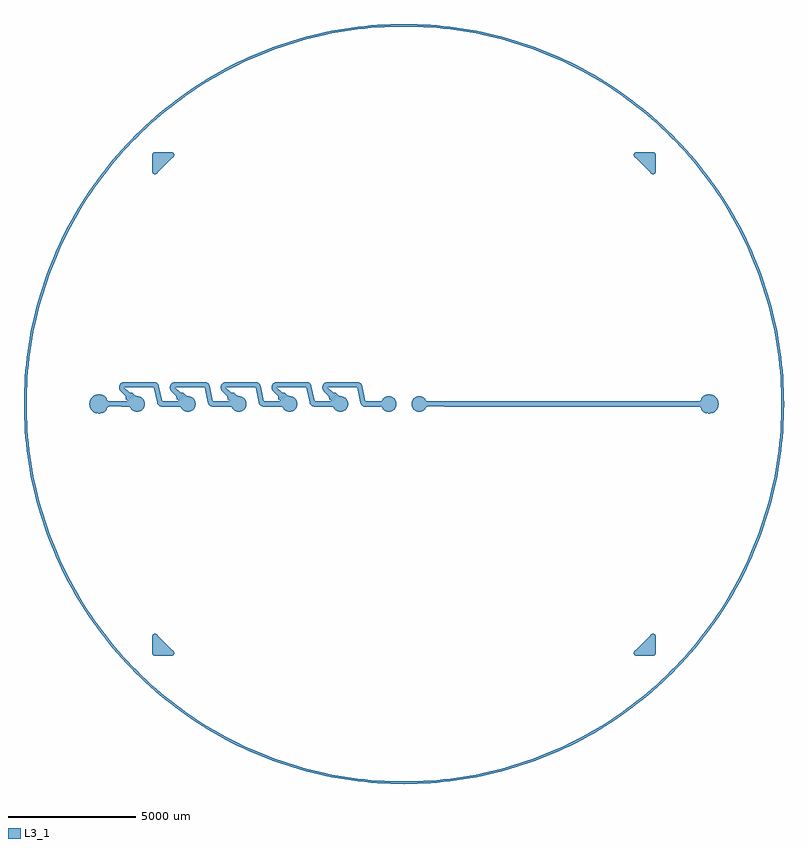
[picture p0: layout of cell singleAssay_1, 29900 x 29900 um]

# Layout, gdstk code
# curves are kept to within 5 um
from math import pi, radians
import gdstk
lib = gdstk.Library(unit=1e-6, precision=5e-09)
def R(c, l, rs):  # rectangles x0, y0, x1, y1
    for r in rs: c.add(gdstk.rectangle(r[:2], r[2:], *l))
def P(c, l, *ps):  # polygons
    for p in ps: c.add(gdstk.Polygon(p, *l))
L3_1 = (3, 1)

trace_1 = lib.new_cell('TRACE_1')
R(trace_1, L3_1, [(0,-100,600,100)])

structure_1 = lib.new_cell('STRUCTURE_1')
P(structure_1, L3_1, [(0,300),(57.245,294.49),(107.51,280.075),(199.58,223.97),(315,180),(315,-180),(199.58,-223.97),(107.51,-280.075),(57.245,-294.49),(0,-300),(-57.245,-294.49),(-112.38,-278.155),(-167.76,-248.71),(-212.13,-212.13),(-248.71,-167.76),(-278.155,-112.38),(-294.49,-57.245),(-300,0),(-294.49,57.245),(-278.155,112.38),(-248.71,167.76),(-212.13,212.13),(-167.76,248.71),(-112.38,278.155),(-57.245,294.49)])

structure_2 = lib.new_cell('STRUCTURE_2')
P(structure_2, L3_1, [(35,15),(35,0),(0,0),(0,70),(35,70),(35,55),(21.105,49.385),(16.59,42.815),(15,35),(20.615,21.105),(27.185,16.59)])

structure_3 = lib.new_cell('STRUCTURE_3')
P(structure_3, L3_1, [(35,55),(35,70),(70,70),(70,0),(35,0),(35,15),(48.895,20.615),(53.41,27.185),(55,35),(49.385,48.895),(42.815,53.41)])

pcell_1 = lib.new_cell('PCELL_1')
pcell_1.add(gdstk.Reference(structure_2, (0,0)))
pcell_1.add(gdstk.Reference(structure_3, (0,0)))

structure_4 = lib.new_cell('STRUCTURE_4')
P(structure_4, L3_1, [(0,55),(0,70),(35,70),(35,0),(0,0),(0,15),(13.895,20.615),(18.41,27.185),(20,35),(14.385,48.895),(7.815,53.41)])

pcell_2 = lib.new_cell('PCELL_2')
pcell_2.add(gdstk.Reference(structure_4, (0,0)))

structure_5 = lib.new_cell('STRUCTURE_5')
P(structure_5, L3_1, [(35,15),(35,0),(0,0),(0,70),(35,70),(35,55),(21.105,49.385),(16.59,42.815),(15,35),(20.615,21.105),(27.185,16.59)])

pcell_3 = lib.new_cell('PCELL_3')
pcell_3.add(gdstk.Reference(structure_5, (0,0)))

pcell_4 = lib.new_cell('PCELL_4')
r = gdstk.Reference(pcell_1, (0,0)); r.repetition = gdstk.Repetition(5, 1, v1=(70,0), v2=(0,0)); pcell_4.add(r)
r = gdstk.Reference(pcell_1, (35,70)); r.repetition = gdstk.Repetition(4, 1, v1=(70,0), v2=(0,0)); pcell_4.add(r)
pcell_4.add(gdstk.Reference(pcell_2, (0,70)))
pcell_4.add(gdstk.Reference(pcell_3, (315,70)))

block_1 = lib.new_cell('BLOCK_1')
P(block_1, L3_1, [(540,100),(440,180),(425,180),(425,-180),(440,-180),(540,-100)])
block_1.add(gdstk.Reference(structure_1, (0,0)))
block_1.add(gdstk.Reference(pcell_4, (300,180), rotation=3*pi/2))

trace_3 = lib.new_cell('TRACE_3')
P(trace_3, L3_1, [(-311.125,-452.55),(-506.94,-648.365),(-505.205,-656.475),(658.635,-656.745),(696.46,-853.14),(-503.78,-856.84),(-579.605,-842.13),(-620.175,-820.295),(-654.845,-789.95),(-681.86,-752.625),(-699.86,-710.215),(-707.935,-664.85),(-705.675,-618.835),(-693.195,-574.48),(-671.125,-534.035),(-452.55,-311.125)],
  [(658.55,-656.76),(786.29,-56.485),(818.56,14.025),(871.74,65.565),(939.76,94.845),(1200,100),(1200,-100),(980.825,-103.16),(857.68,-696.9),(824.605,-770.86),(765.455,-826.23),(692.975,-853.78)])

blk_w_tee_4 = lib.new_cell('blk_w_tee_4')
blk_w_tee_4.add(gdstk.Reference(trace_1, (-600,0)))
blk_w_tee_4.add(gdstk.Reference(block_1, (0,0), rotation=radians(225)))
blk_w_tee_4.add(gdstk.Reference(trace_3, (0,0)))

trace_4 = lib.new_cell('TRACE_4')
R(trace_4, L3_1, [(0,-100,600,100)])

trace_6 = lib.new_cell('TRACE_6')
P(trace_6, L3_1, [(-311.125,-452.55),(-506.94,-648.365),(-505.205,-656.475),(658.635,-656.745),(696.46,-853.14),(-503.78,-856.84),(-579.605,-842.13),(-620.175,-820.295),(-654.845,-789.95),(-681.86,-752.625),(-699.86,-710.215),(-707.935,-664.85),(-705.675,-618.835),(-693.195,-574.48),(-671.125,-534.035),(-452.55,-311.125)],
  [(658.55,-656.76),(786.29,-56.485),(818.56,14.025),(871.74,65.565),(939.76,94.845),(1200,100),(1200,-100),(980.825,-103.16),(857.68,-696.9),(824.605,-770.86),(765.455,-826.23),(692.975,-853.78)])

blk_w_tee_2 = lib.new_cell('blk_w_tee_2')
blk_w_tee_2.add(gdstk.Reference(trace_4, (-600,0)))
blk_w_tee_2.add(gdstk.Reference(block_1, (0,0), rotation=radians(225)))
blk_w_tee_2.add(gdstk.Reference(trace_6, (0,0)))

trace_7 = lib.new_cell('TRACE_7')
R(trace_7, L3_1, [(0,-100,600,100)])

trace_9 = lib.new_cell('TRACE_9')
P(trace_9, L3_1, [(-311.125,-452.55),(-506.94,-648.365),(-505.205,-656.475),(658.635,-656.745),(696.46,-853.14),(-503.78,-856.84),(-579.605,-842.13),(-620.175,-820.295),(-654.845,-789.95),(-681.86,-752.625),(-699.86,-710.215),(-707.935,-664.85),(-705.675,-618.835),(-693.195,-574.48),(-671.125,-534.035),(-452.55,-311.125)],
  [(658.55,-656.76),(786.29,-56.485),(818.56,14.025),(871.74,65.565),(939.76,94.845),(1200,100),(1200,-100),(980.825,-103.16),(857.68,-696.9),(824.605,-770.86),(765.455,-826.23),(692.975,-853.78)])

blk_w_tee_3 = lib.new_cell('blk_w_tee_3')
blk_w_tee_3.add(gdstk.Reference(trace_7, (-600,0)))
blk_w_tee_3.add(gdstk.Reference(block_1, (0,0), rotation=radians(225)))
blk_w_tee_3.add(gdstk.Reference(trace_9, (0,0)))

trace_10 = lib.new_cell('TRACE_10')
R(trace_10, L3_1, [(0,-100,600,100)])

trace_12 = lib.new_cell('TRACE_12')
P(trace_12, L3_1, [(-311.125,-452.55),(-506.94,-648.365),(-505.205,-656.475),(658.635,-656.745),(696.46,-853.14),(-503.78,-856.84),(-579.605,-842.13),(-620.175,-820.295),(-654.845,-789.95),(-681.86,-752.625),(-699.86,-710.215),(-707.935,-664.85),(-705.675,-618.835),(-693.195,-574.48),(-671.125,-534.035),(-452.55,-311.125)],
  [(658.55,-656.76),(786.29,-56.485),(818.56,14.025),(871.74,65.565),(939.76,94.845),(1200,100),(1200,-100),(980.825,-103.16),(857.68,-696.9),(824.605,-770.86),(765.455,-826.23),(692.975,-853.78)])

blk_w_tee_0 = lib.new_cell('blk_w_tee_0')
blk_w_tee_0.add(gdstk.Reference(trace_10, (-600,0)))
blk_w_tee_0.add(gdstk.Reference(block_1, (0,0), rotation=radians(225)))
blk_w_tee_0.add(gdstk.Reference(trace_12, (0,0)))

trace_13 = lib.new_cell('TRACE_13')
R(trace_13, L3_1, [(0,-100,600,100)])

trace_15 = lib.new_cell('TRACE_15')
P(trace_15, L3_1, [(-311.125,-452.55),(-506.94,-648.365),(-505.205,-656.475),(658.635,-656.745),(696.46,-853.14),(-503.78,-856.84),(-579.605,-842.13),(-620.175,-820.295),(-654.845,-789.95),(-681.86,-752.625),(-699.86,-710.215),(-707.935,-664.85),(-705.675,-618.835),(-693.195,-574.48),(-671.125,-534.035),(-452.55,-311.125)],
  [(658.55,-656.76),(786.29,-56.485),(818.56,14.025),(871.74,65.565),(939.76,94.845),(1200,100),(1200,-100),(980.825,-103.16),(857.68,-696.9),(824.605,-770.86),(765.455,-826.23),(692.975,-853.78)])

blk_w_tee_1 = lib.new_cell('blk_w_tee_1')
blk_w_tee_1.add(gdstk.Reference(trace_13, (-600,0)))
blk_w_tee_1.add(gdstk.Reference(block_1, (0,0), rotation=radians(225)))
blk_w_tee_1.add(gdstk.Reference(trace_15, (0,0)))

pcell_5_link1 = lib.new_cell('PCELL_5_link1')
R(pcell_5_link1, L3_1, [(-8800,-100,-8600,100)])

pcell_5_link2 = lib.new_cell('PCELL_5_link2')
R(pcell_5_link2, L3_1, [(-6800,-100,-6600,100)])

pcell_5_link3 = lib.new_cell('PCELL_5_link3')
R(pcell_5_link3, L3_1, [(-4800,-100,-4600,100)])

pcell_5_link4 = lib.new_cell('PCELL_5_link4')
R(pcell_5_link4, L3_1, [(-2800,-100,-2600,100)])

pcell_5 = lib.new_cell('PCELL_5')
pcell_5.add(gdstk.Reference(blk_w_tee_4, (-2000,0), x_reflection=True))
pcell_5.add(gdstk.Reference(blk_w_tee_2, (-6000,0), x_reflection=True))
pcell_5.add(gdstk.Reference(blk_w_tee_3, (-4000,0), x_reflection=True))
pcell_5.add(gdstk.Reference(blk_w_tee_0, (-10000,0), x_reflection=True))
pcell_5.add(gdstk.Reference(blk_w_tee_1, (-8000,0), x_reflection=True))
pcell_5.add(gdstk.Reference(pcell_5_link1, (0,0)))
pcell_5.add(gdstk.Reference(pcell_5_link2, (0,0)))
pcell_5.add(gdstk.Reference(pcell_5_link3, (0,0)))
pcell_5.add(gdstk.Reference(pcell_5_link4, (0,0)))

structure_6 = lib.new_cell('STRUCTURE_6')
P(structure_6, L3_1, [(306.335,-216.275),(246.02,-283.015),(176.05,-331.105),(97.055,-362.22),(13.085,-374.77),(-71.555,-368.11),(-152.525,-342.58),(-225.68,-299.49),(-287.265,-241.045),(-337.05,-164.39),(-365.39,-84.355),(-375,0),(-365.39,84.355),(-337.05,164.39),(-291.43,235.995),(-230.875,295.505),(-158.48,339.865),(-84.355,365.39),(-6.545,374.945),(71.555,368.11),(152.525,342.58),(215.09,307.18),(269.75,260.495),(306.335,216.275),(307.565,177.505),(324.1,141.22),(350.535,116.135),(384.21,102.185),(1000,100),(1000,-100),(389.355,-101.23),(352.01,-115.195),(324.1,-141.22),(307.565,-177.505)])

inlethole_1 = lib.new_cell('INLETHOLE_1')
inlethole_1.add(gdstk.Reference(structure_6, (0,0)))

structure_7 = lib.new_cell('STRUCTURE_7')
P(structure_7, L3_1, [(306.335,-216.275),(246.02,-283.015),(176.05,-331.105),(97.055,-362.22),(13.085,-374.77),(-71.555,-368.11),(-152.525,-342.58),(-225.68,-299.49),(-287.265,-241.045),(-337.05,-164.39),(-365.39,-84.355),(-375,0),(-365.39,84.355),(-337.05,164.39),(-291.43,235.995),(-230.875,295.505),(-158.48,339.865),(-84.355,365.39),(-6.545,374.945),(71.555,368.11),(152.525,342.58),(215.09,307.18),(269.75,260.495),(306.335,216.275),(307.565,177.505),(324.1,141.22),(350.535,116.135),(384.21,102.185),(1000,100),(1000,-100),(389.355,-101.23),(352.01,-115.195),(324.1,-141.22),(307.565,-177.505)])

inlethole_4 = lib.new_cell('INLETHOLE_4')
inlethole_4.add(gdstk.Reference(structure_7, (0,0)))

structure_8 = lib.new_cell('STRUCTURE_8')
P(structure_8, L3_1, [(230.305,-192.24),(180.545,-239.59),(122.02,-274.065),(57.245,-294.49),(-10.47,-299.815),(-77.645,-289.78),(-140.84,-264.885),(-196.82,-226.415),(-242.705,-176.335),(-276.15,-117.22),(-295.44,-52.095),(-299.59,15.7),(-288.38,82.69),(-262.385,145.445),(-222.945,200.74),(-172.075,245.745),(-107.51,280.075),(-52.095,295.44),(5.235,299.955),(62.375,293.445),(117.22,276.15),(172.075,245.745),(215.8,208.4),(230.305,192.24),(243.395,150),(263.085,125.685),(314.355,101.23),(1000,100),(1000,-100),(317.815,-100.745),(284.6,-110.9),(258.065,-130.535),(238.645,-159.325)])

inlethole_3 = lib.new_cell('INLETHOLE_3')
inlethole_3.add(gdstk.Reference(structure_8, (0,0)))

structure_9 = lib.new_cell('STRUCTURE_9')
P(structure_9, L3_1, [(230.305,-192.24),(180.545,-239.59),(122.02,-274.065),(57.245,-294.49),(-10.47,-299.815),(-77.645,-289.78),(-140.84,-264.885),(-196.82,-226.415),(-242.705,-176.335),(-276.15,-117.22),(-295.44,-52.095),(-299.59,15.7),(-288.38,82.69),(-262.385,145.445),(-222.945,200.74),(-172.075,245.745),(-107.51,280.075),(-52.095,295.44),(5.235,299.955),(62.375,293.445),(117.22,276.15),(172.075,245.745),(215.8,208.4),(230.305,192.24),(243.395,150),(263.085,125.685),(314.355,101.23),(1000,100),(1000,-100),(317.815,-100.745),(284.6,-110.9),(258.065,-130.535),(238.645,-159.325)])

inlethole_2 = lib.new_cell('INLETHOLE_2')
inlethole_2.add(gdstk.Reference(structure_9, (0,0)))

wafer_1 = lib.new_cell('WAFER_1')
P(wafer_1, L3_1, [(14850,0),(14829.645,777.19),(14768.65,1552.245),(14705.48,2066.72),(14577.16,2833.515),(14408.89,3592.54),(14201.125,4341.72),(13954.435,5079),(13768.68,5562.905),(13566.15,6040.04),(13231.445,6741.76),(12860.475,7425),(12454.255,8087.89),(12013.9,8728.61),(11540.615,9345.405),(11035.7,9936.59),(10500.535,10500.535),(9936.59,11035.7),(9345.405,11540.615),(8728.61,12013.9),(8087.89,12454.255),(7425,12860.475),(6741.76,13231.445),(6040.04,13566.15),(5562.905,13768.68),(5079,13954.435),(4341.72,14201.125),(3592.54,14408.89),(2833.515,14577.16),(2066.72,14705.48),(1552.245,14768.65),(777.19,14829.645),(0,14850),(-777.19,14829.645),(-1552.245,14768.65),(-2066.72,14705.48),(-2833.515,14577.16),(-3592.54,14408.89),(-4341.72,14201.125),(-5079,13954.435),(-5562.905,13768.68),(-6040.04,13566.15),(-6741.76,13231.445),(-7425,12860.475),(-8087.89,12454.255),(-8728.61,12013.9),(-9345.405,11540.615),(-9936.59,11035.7),(-10500.535,10500.535),(-11035.7,9936.59),(-11375.76,9545.395),(-11859.735,8936.95),(-12311.205,8304.015),(-12728.935,7648.315),(-13111.77,6971.65),(-13458.67,6275.88),(-13669.495,5802.355),(-13954.435,5079),(-14201.125,4341.72),(-14408.89,3592.54),(-14525.49,3087.49),(-14667.17,2323.05),(-14768.65,1552.245),(-14813.825,1035.885),(-14840.95,518.255),(-14847.735,-259.17),(-14947.725,-260.915),(-14950,0),(-14929.515,782.425),(-14893.115,1302.98),(-14804.51,2080.64),(-14675.33,2852.595),(-14505.925,3616.735),(-14296.76,4370.96),(-14048.405,5113.2),(-13761.55,5841.43),(-13549.305,6318.145),(-13200.07,7018.6),(-12814.655,7699.82),(-12394.115,8359.935),(-12094.805,8787.39),(-11618.335,9408.34),(-11110.015,10003.505),(-10571.25,10571.25),(-10003.505,11110.015),(-9408.34,11618.335),(-8787.39,12094.805),(-8359.935,12394.115),(-7699.82,12814.655),(-7018.6,13200.07),(-6318.145,13549.305),(-5841.43,13761.55),(-5113.2,14048.405),(-4370.96,14296.76),(-3616.735,14505.925),(-2852.595,14675.33),(-2080.64,14804.51),(-1302.98,14893.115),(-782.425,14929.515),(0,14950),(782.425,14929.515),(1302.98,14893.115),(2080.64,14804.51),(2852.595,14675.33),(3616.735,14505.925),(4370.96,14296.76),(5113.2,14048.405),(5841.43,13761.55),(6318.145,13549.305),(7018.6,13200.07),(7699.82,12814.655),(8359.935,12394.115),(8787.39,12094.805),(9408.34,11618.335),(10003.505,11110.015),(10571.25,10571.25),(11110.015,10003.505),(11618.335,9408.34),(12094.805,8787.39),(12394.115,8359.935),(12814.655,7699.82),(13200.07,7018.6),(13549.305,6318.145),(13861.4,5600.37),(14135.505,4867.245),(14370.865,4120.78),(14566.835,3363.02),(14722.88,2596.04),(14804.51,2080.64),(14868.105,1562.7),(14929.515,782.425),(14950,0)],
  [(-14850,0),(-14829.645,-777.19),(-14768.65,-1552.245),(-14705.48,-2066.72),(-14577.16,-2833.515),(-14408.89,-3592.54),(-14201.125,-4341.72),(-13954.435,-5079),(-13768.68,-5562.905),(-13566.15,-6040.04),(-13231.445,-6741.76),(-12860.475,-7425),(-12454.255,-8087.89),(-12013.9,-8728.61),(-11540.615,-9345.405),(-11035.7,-9936.59),(-10500.535,-10500.535),(-9936.59,-11035.7),(-9345.405,-11540.615),(-8728.61,-12013.9),(-8087.89,-12454.255),(-7425,-12860.475),(-6741.76,-13231.445),(-6040.04,-13566.15),(-5562.905,-13768.68),(-5079,-13954.435),(-4341.72,-14201.125),(-3592.54,-14408.89),(-2833.515,-14577.16),(-2066.72,-14705.48),(-1552.245,-14768.65),(-777.19,-14829.645),(0,-14850),(777.19,-14829.645),(1552.245,-14768.65),(2066.72,-14705.48),(2833.515,-14577.16),(3592.54,-14408.89),(4341.72,-14201.125),(5079,-13954.435),(5562.905,-13768.68),(6040.04,-13566.15),(6741.76,-13231.445),(7425,-12860.475),(8087.89,-12454.255),(8728.61,-12013.9),(9345.405,-11540.615),(9936.59,-11035.7),(10500.535,-10500.535),(11035.7,-9936.59),(11375.76,-9545.395),(11859.735,-8936.95),(12311.205,-8304.015),(12728.935,-7648.315),(13111.77,-6971.65),(13458.67,-6275.88),(13669.495,-5802.355),(13954.435,-5079),(14201.125,-4341.72),(14408.89,-3592.54),(14525.49,-3087.49),(14667.17,-2323.05),(14768.65,-1552.245),(14813.825,-1035.885),(14840.95,-518.255),(14847.735,259.17),(14947.725,260.915),(14950,0),(14929.515,-782.425),(14893.115,-1302.98),(14804.51,-2080.64),(14675.33,-2852.595),(14505.925,-3616.735),(14296.76,-4370.96),(14048.405,-5113.2),(13761.55,-5841.43),(13549.305,-6318.145),(13200.07,-7018.6),(12814.655,-7699.82),(12394.115,-8359.935),(12094.805,-8787.39),(11618.335,-9408.34),(11110.015,-10003.505),(10571.25,-10571.25),(10003.505,-11110.015),(9408.34,-11618.335),(8787.39,-12094.805),(8359.935,-12394.115),(7699.82,-12814.655),(7018.6,-13200.07),(6318.145,-13549.305),(5841.43,-13761.55),(5113.2,-14048.405),(4370.96,-14296.76),(3616.735,-14505.925),(2852.595,-14675.33),(2080.64,-14804.51),(1302.98,-14893.115),(782.425,-14929.515),(0,-14950),(-782.425,-14929.515),(-1302.98,-14893.115),(-2080.64,-14804.51),(-2852.595,-14675.33),(-3616.735,-14505.925),(-4370.96,-14296.76),(-5113.2,-14048.405),(-5841.43,-13761.55),(-6318.145,-13549.305),(-7018.6,-13200.07),(-7699.82,-12814.655),(-8359.935,-12394.115),(-8787.39,-12094.805),(-9408.34,-11618.335),(-10003.505,-11110.015),(-10571.25,-10571.25),(-11110.015,-10003.505),(-11618.335,-9408.34),(-12094.805,-8787.39),(-12394.115,-8359.935),(-12814.655,-7699.82),(-13200.07,-7018.6),(-13549.305,-6318.145),(-13861.4,-5600.37),(-14135.505,-4867.245),(-14370.865,-4120.78),(-14566.835,-3363.02),(-14722.88,-2596.04),(-14804.51,-2080.64),(-14868.105,-1562.7),(-14929.515,-782.425),(-14950,0)])

structure_10 = lib.new_cell('STRUCTURE_10')
P(structure_10, L3_1, [(0,154.645),(2.41,86.37),(17.425,46.83),(52.81,13.83),(100.16,0.965),(767.84,2.05),(800.86,12.19),(828.595,33.09),(846.815,60.62),(855.215,94.315),(845.34,145.13),(807.995,191.895),(183.68,815.955),(148.24,843.755),(108.265,855.215),(72.055,851.09),(38.36,833.175),(14.69,805.46),(2.41,770.385)])

triangle_1 = lib.new_cell('TRIANGLE_1')
triangle_1.add(gdstk.Reference(structure_10, (0,0)))

markswafer_1 = lib.new_cell('MARKSWAFER_1')
markswafer_1.add(gdstk.Reference(wafer_1, (0,0)))
markswafer_1.add(gdstk.Reference(triangle_1, (9900,9900), rotation=pi))
markswafer_1.add(gdstk.Reference(triangle_1, (-9900,9900), rotation=3*pi/2))
markswafer_1.add(gdstk.Reference(triangle_1, (-9900,-9900)))
markswafer_1.add(gdstk.Reference(triangle_1, (9900,-9900), rotation=pi/2))

singleassay_1_link1 = lib.new_cell('singleAssay_1_link1')
P(singleassay_1_link1, L3_1, [(1599.985,100),(1601.985,100),(1602.03,100),(11000,100),(11000,-100),(1602.04,-100),(1602.015,-100),(1600.015,-100)])

singleassay_1 = lib.new_cell('singleAssay_1')
singleassay_1.add(gdstk.Reference(pcell_5, (-500,0)))
singleassay_1.add(gdstk.Reference(inlethole_1, (-12000,0)))
singleassay_1.add(gdstk.Reference(inlethole_4, (12000,0), rotation=pi))
singleassay_1.add(gdstk.Reference(inlethole_3, (600,0)))
singleassay_1.add(gdstk.Reference(inlethole_2, (-600,0), rotation=pi))
singleassay_1.add(gdstk.Reference(markswafer_1, (0,0)))
singleassay_1.add(gdstk.Reference(singleassay_1_link1, (0,0)))

lib.write_gds('singleAssay_1.gds')
